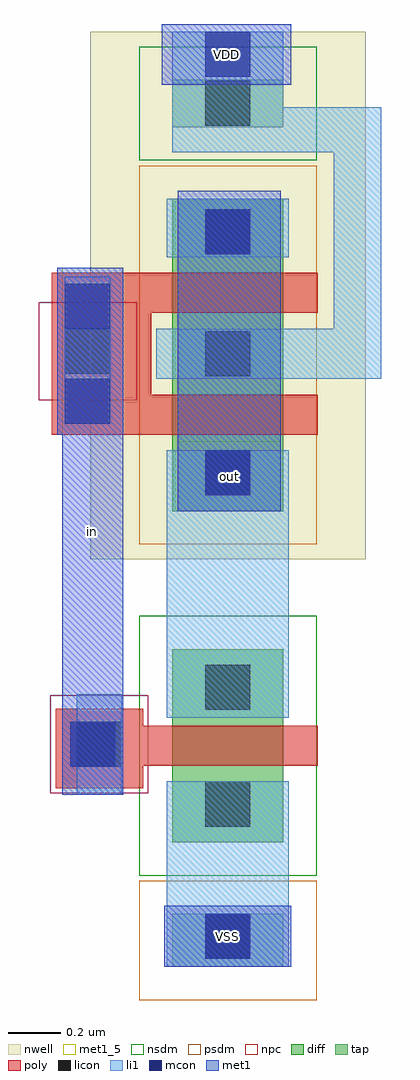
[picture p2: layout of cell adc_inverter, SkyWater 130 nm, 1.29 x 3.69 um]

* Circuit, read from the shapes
.subckt adc_inverter VDD VSS in out
XM1 out in VSS VSS sky130_fd_pr__nfet_01v8 w=0.42 l=0.15
XM2 VDD in out VDD sky130_fd_pr__pfet_01v8 w=0.42 l=0.15 m=2
.ends

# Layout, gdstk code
import gdstk
lib = gdstk.Library(unit=1e-6, precision=1e-09)
def R(c, l, rs):  # rectangles x0, y0, x1, y1
    for r in rs: c.add(gdstk.rectangle(r[:2], r[2:], *l))
nwell = (64, 20)
diff = (65, 20)
tap = (65, 44)
poly = (66, 20)
licon = (66, 44)
li1 = (67, 20)
mcon = (67, 44)
met1_5 = (68, 5)
met1 = (68, 20)
nsdm = (93, 44)
psdm = (94, 20)
npc = (95, 20)

adc_inverter = lib.new_cell('adc_inverter')
R(adc_inverter, nwell, [(0,0.89,1.04,2.88)])
R(adc_inverter, diff, [(0.31,-0.18,0.73,0.55), (0.31,1.07,0.73,2.25)])
R(adc_inverter, tap, [(0.31,-0.65,0.73,-0.45), (0.31,2.52,0.73,2.7)])
R(adc_inverter, poly, [(-0.13,0.025,0.2,0.11), (-0.13,0.11,0.86,0.26), (-0.13,0.26,0.2,0.325), (-0.145,1.36,0.86,1.51), (-0.145,1.51,0.23,1.82), (-0.145,1.82,0.86,1.97)])
R(adc_inverter, licon, [(0.435,-0.62,0.605,-0.45), (0.435,-0.12,0.605,0.05), (-0.05,0.105,0.12,0.275), (0.435,0.32,0.605,0.49), (0.435,1.13,0.605,1.3), (0.435,1.58,0.605,1.75), (-0.095,1.59,0.075,1.76), (0.435,2.04,0.605,2.21), (0.435,2.525,0.605,2.695)])
R(adc_inverter, li1, [(0.29,-0.65,0.75,0.05), (-0.05,0,0.12,0.105), (-0.075,0.105,0.12,0.275), (-0.05,0.275,0.12,0.38), (0.29,0.29,0.75,1.3), (-0.095,1.4,0.075,1.955), (0.25,1.57,1.1,1.76), (0.92,1.76,1.1,2.425), (0.29,2.03,0.75,2.25), (0.31,2.425,1.1,2.595), (0.31,2.595,0.73,2.88)])
R(adc_inverter, mcon, [(0.435,-0.62,0.605,-0.45), (-0.075,0.105,0.095,0.275), (0.435,1.13,0.605,1.3), (-0.095,1.4,0.075,1.57), (-0.095,1.76,0.075,1.93), (0.435,2.04,0.605,2.21), (0.435,2.71,0.605,2.88)])
R(adc_inverter, met1_5, [(0.28,-0.65,0.76,-0.42), (-0.105,0,0.125,1.99), (0.33,1.07,0.72,1.335), (0.27,2.68,0.76,2.91)])
R(adc_inverter, met1, [(0.28,-0.65,0.76,-0.42), (-0.105,0,0.125,1.36), (0.33,1.07,0.72,2.28), (-0.125,1.36,0.125,1.99), (0.27,2.68,0.76,2.91)])
R(adc_inverter, nsdm, [(0.185,-0.305,0.855,0.675), (0.185,2.395,0.855,2.825)])
R(adc_inverter, psdm, [(0.185,-0.775,0.855,-0.325), (0.185,0.945,0.855,2.375)])
R(adc_inverter, npc, [(-0.15,0.005,0.22,0.375), (-0.195,1.49,0.175,1.86)])
adc_inverter.add(gdstk.Label('in', (0.01,0.995), layer=68, texttype=5))
adc_inverter.add(gdstk.Label('out', (0.525,1.202), layer=68, texttype=5))
adc_inverter.add(gdstk.Label('VDD', (0.515,2.795), layer=68, texttype=5))
adc_inverter.add(gdstk.Label('VSS', (0.52,-0.535), layer=68, texttype=5))

lib.write_gds('adc_inverter.gds')
